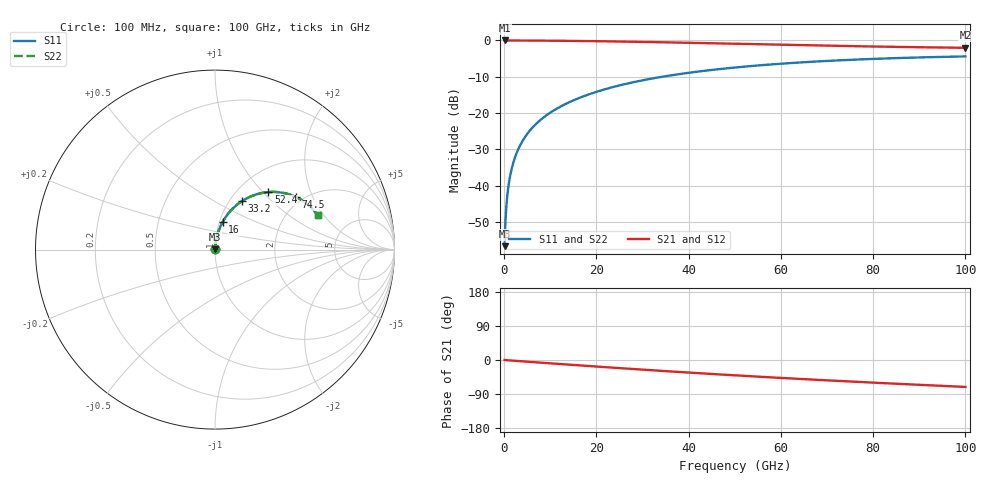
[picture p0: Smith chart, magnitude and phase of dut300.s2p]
! Touchstone file exported from HFSS 2026.1.0
!  File:  C:/ffzhzh/LocalFiles/Ansys_Project_Files/temp_train_RDL_300_1783502350_31944.aedt
!  Generated:  05:20:23 PM Jul  8, 2026
!  Design:  RDL
!  Project:  temp_train_RDL_300_1783502350_31944
! Variables:
!  h_bsmrdl = 2um
!  h_ox = 20um
!  h_rdl = 5um
!  h_sub = 80um
!  h_tmrdl = 4.13um
!  h_tsv = 80um
!  h_via = 3um
!  l_bsmrdl = 300um
!  l_sub = 591.81um
!  l_tmrdl = 191.81um
!  m_sub = 200um
!  pitch = 56.57um
!  r_tsv = 6um
!  s_tmrdl = 10um
!  w_bsmrdl = 18um
!  w_sub = 500um
!  w_tmrdl = 20.82um
!  x_tsv_center1 = 202.22um
!  x_tsv_center2 = 520.22um
!  x_tsv_center3 = 732.85um
!  x_tsv_center4 = 1050.85um
!  x_tsv_center5 = 1263.48um
!  x_tsv_center6 = 1581.48um
# GHz S MA R 50.000000
! Terminal data exported
! Port[1] = TM_RDL1_1_T1
! Port[2] = TM_RDL1_1_T2
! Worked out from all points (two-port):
!   1000 points, 100 MHz to 100 GHz, reference 50 ohm
!   highest |S21| = -0.01 dB at 100 MHz (marker M1); lowest = -2.0 dB at 100 GHz (marker M2)
!   |S21| within 3 dB of the highest: start of sweep to end of sweep
!   lowest |S11| = -56.7 dB at 100 MHz (marker M3), VSWR 1.00, Z = 50.1 + j0.111 ohm
!   |S11| at or under -10 dB: start of sweep to 34.3 GHz
!   |S22| runs from -56.7 to -4.4 dB; largest |S21 - S12| = 3.1e-15
!   S11 on the Smith chart (normalised r, x): 100 MHz: 1.00, +0.00; 16 GHz: 1.04, +0.33; 33.2 GHz: 1.14, +0.68; 52.4 GHz: 1.36, +1.08; 74.5 GHz: 1.84, +1.52; 100 GHz: 2.90, +1.73
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0.1  0.001468 48.8  0.999 -0.1  0.999 -0.1  0.001468 48.8
! Gamma 0 0 0 0
! Port Impedance 50 0 50 0
0.4  0.004419 75.4  0.9989 -0.4  0.9989 -0.4  0.004419 75.4
0.8  0.008504 81.4  0.9988 -0.7  0.9988 -0.7  0.008504 81.4
1  0.01056 82.6  0.9988 -0.9  0.9988 -0.9  0.01056 82.6
1.3  0.01366 83.7  0.9987 -1.2  0.9987 -1.2  0.01366 83.7
1.7  0.0178 84.3  0.9986 -1.5  0.9986 -1.5  0.0178 84.3
2.3  0.024 84.6  0.9983 -2.1  0.9983 -2.1  0.024 84.6
3.7  0.03838 84.2  0.9976 -3.3  0.9976 -3.3  0.03838 84.2
5.7  0.05864 82.8  0.9961 -5.1  0.9961 -5.1  0.05864 82.8
8.4  0.08554 80.7  0.9936 -7.4  0.9936 -7.4  0.08555 80.7
11.8  0.1188 78.0  0.9895 -10.3  0.9895 -10.3  0.1188 78.0
16  0.1588 74.6  0.9834 -13.9  0.9834 -13.9  0.1588 74.7
16.8  0.1663 74.0  0.982 -14.6  0.982 -14.6  0.1663 74.0
24.1  0.2324 68.1  0.9679 -20.7  0.9679 -20.7  0.2324 68.2
33.2  0.3077 61.0  0.9461 -28.0  0.9461 -28.0  0.3077 61.1
33.4  0.3093 60.9  0.9456 -28.1  0.9456 -28.1  0.3093 60.9
50.1  0.4241 48.7  0.8996 -40.5  0.8996 -40.5  0.4241 48.7
52.4  0.4375 47.1  0.8931 -42.1  0.8931 -42.1  0.4375 47.1
66.7  0.5084 37.7  0.8548 -51.6  0.8548 -51.6  0.5084 37.8
74.5  0.5387 32.9  0.8361 -56.5  0.8361 -56.5  0.5387 33.0
83.4  0.5667 27.7  0.8175 -61.7  0.8175 -61.7  0.5667 27.8
100  0.6024 18.4  0.7916 -71.1  0.7916 -71.1  0.6024 18.5
